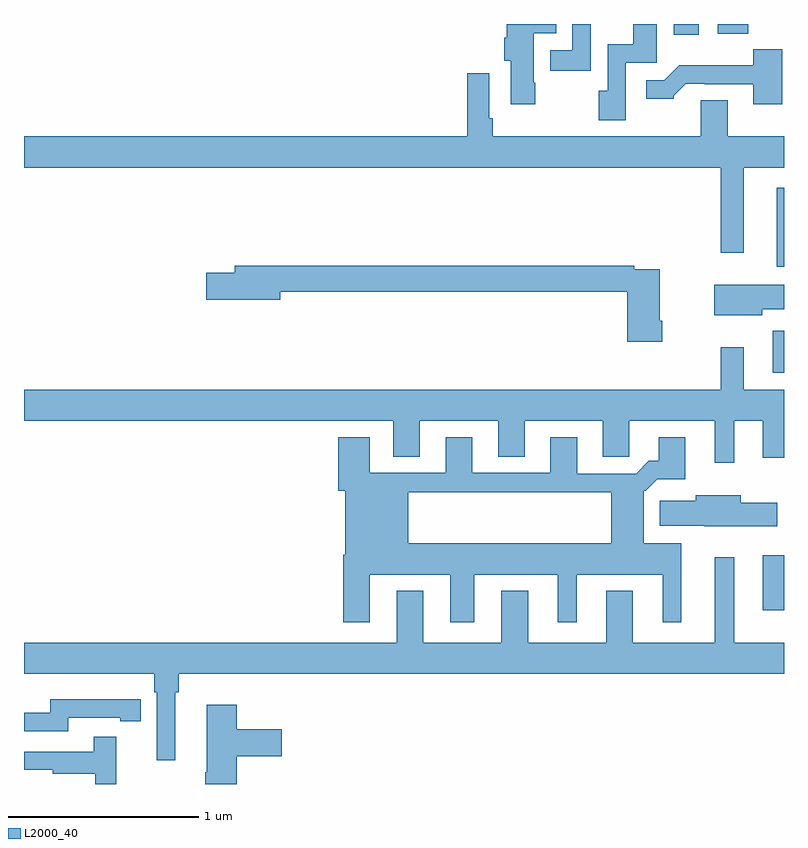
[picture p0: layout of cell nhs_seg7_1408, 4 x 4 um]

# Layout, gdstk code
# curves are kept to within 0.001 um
import gdstk
lib = gdstk.Library(unit=1e-6, precision=1e-09)
def R(c, l, rs):  # rectangles x0, y0, x1, y1
    for r in rs: c.add(gdstk.rectangle(r[:2], r[2:], *l))
def P(c, l, *ps):  # polygons
    for p in ps: c.add(gdstk.Polygon(p, *l))
L2000_40 = (2000, 40)

nhs_seg7_1408 = lib.new_cell('nhs_seg7_1408')
R(nhs_seg7_1408, L2000_40, [(210.887,1036.914,211,1037.203), (210.941,1038.165,211,1038.385), (210.962,1038.722,211,1039.138), (210.419,1039.944,210.55,1040), (210.65,1039.949,210.812,1040)])
P(nhs_seg7_1408, L2000_40, [(209.691,1039.69),(209.683,1039.69),(209.683,1039.952),(209.801,1039.952),(209.801,1040),(209.54,1040),(209.54,1039.928),(209.528,1039.928),(209.528,1039.806),(209.561,1039.806),(209.561,1039.578),(209.691,1039.578)],
  [(210.168,1039.797),(210.331,1039.797),(210.331,1040),(210.206,1040),(210.206,1039.894),(210.072,1039.894),(210.072,1039.65),(210.025,1039.65),(210.025,1039.494),(210.168,1039.494)],
  [(209.982,1040),(209.886,1040),(209.886,1039.863),(209.769,1039.863),(209.769,1039.755),(209.982,1039.755)],
  [(210.992,1039.867),(210.837,1039.867),(210.837,1039.783),(210.448,1039.783),(210.369,1039.704),(210.276,1039.704),(210.276,1039.607),(210.42,1039.607),(210.42,1039.622),(210.484,1039.686),(210.583,1039.686),(210.583,1039.683),(210.839,1039.683),(210.839,1039.578),(210.992,1039.578)],
  [(210.787,1039.244),(211,1039.244),(211,1039.408),(210.703,1039.408),(210.703,1039.598),(210.563,1039.598),(210.563,1039.408),(209.468,1039.408),(209.468,1039.504),(209.448,1039.504),(209.448,1039.741),(209.332,1039.741),(209.332,1039.408),(207,1039.408),(207,1039.244),(210.666,1039.244),(210.666,1038.795),(210.787,1038.795)],
  [(210.359,1038.439),(210.346,1038.439),(210.346,1038.708),(210.212,1038.708),(210.212,1038.728),(208.109,1038.728),(208.109,1038.692),(207.96,1038.692),(207.96,1038.55),(208.348,1038.55),(208.348,1038.592),(210.176,1038.592),(210.176,1038.327),(210.359,1038.327)],
  [(210.886,1038.499),(211,1038.499),(211,1038.628),(210.632,1038.628),(210.632,1038.467),(210.886,1038.467)],
  [(210.739,1037.912),(210.887,1037.912),(210.887,1037.718),(211,1037.718),(211,1038.076),(210.787,1038.076),(210.787,1038.298),(210.666,1038.298),(210.666,1038.076),(207,1038.076),(207,1037.912),(208.943,1037.912),(208.943,1037.722),(209.083,1037.722),(209.083,1037.912),(209.495,1037.912),(209.495,1037.722),(209.635,1037.722),(209.635,1037.912),(210.047,1037.912),(210.047,1037.722),(210.186,1037.722),(210.186,1037.912),(210.635,1037.912),(210.635,1037.691),(210.739,1037.691)],
  [(208.679,1037.206),(208.679,1036.851),(208.819,1036.851),(208.819,1037.102),(209.243,1037.102),(209.243,1036.851),(209.371,1036.851),(209.371,1037.102),(209.81,1037.102),(209.81,1036.851),(209.908,1036.851),(209.908,1037.102),(210.362,1037.102),(210.362,1036.851),(210.46,1036.851),(210.46,1037.266),(210.262,1037.266),(210.262,1037.544),(210.273,1037.544),(210.332,1037.603),(210.481,1037.603),(210.481,1037.824),(210.341,1037.824),(210.341,1037.701),(210.289,1037.701),(210.222,1037.634),(209.911,1037.634),(209.911,1037.824),(209.771,1037.824),(209.771,1037.637),(209.359,1037.637),(209.359,1037.824),(209.219,1037.824),(209.219,1037.637),(208.819,1037.637),(208.819,1037.824),(208.655,1037.824),(208.655,1037.544),(208.691,1037.544),(208.691,1037.266),(209.023,1037.266),(209.023,1037.536),(210.092,1037.536),(210.092,1037.266),(208.691,1037.266),(208.691,1037.206)],
  [(210.964,1037.479),(210.772,1037.479),(210.772,1037.521),(210.536,1037.521),(210.536,1037.49),(210.347,1037.49),(210.347,1037.36),(210.579,1037.36),(210.579,1037.357),(210.964,1037.357)],
  [(207.796,1036.484),(207.815,1036.484),(207.815,1036.58),(211,1036.58),(211,1036.744),(210.739,1036.744),(210.739,1037.194),(210.635,1037.194),(210.635,1036.744),(210.205,1036.744),(210.205,1037.017),(210.065,1037.017),(210.065,1036.744),(209.653,1036.744),(209.653,1037.017),(209.513,1037.017),(209.513,1036.744),(209.101,1036.744),(209.101,1037.017),(208.961,1037.017),(208.961,1036.744),(207,1036.744),(207,1036.58),(207.686,1036.58),(207.686,1036.484),(207.699,1036.484),(207.699,1036.125),(207.796,1036.125)],
  [(207.234,1036.35),(207.506,1036.35),(207.506,1036.33),(207.614,1036.33),(207.614,1036.446),(207.506,1036.446),(207.506,1036.447),(207.138,1036.447),(207.138,1036.374),(207,1036.374),(207,1036.278),(207.234,1036.278)],
  [(208.121,1036.145),(208.357,1036.145),(208.357,1036.287),(208.121,1036.287),(208.121,1036.417),(207.962,1036.417),(207.962,1036.061),(207.955,1036.061),(207.955,1036),(208.121,1036)],
  [(207.485,1036.249),(207.367,1036.249),(207.367,1036.17),(207,1036.17),(207,1036.074),(207.151,1036.074),(207.151,1036.054),(207.375,1036.054),(207.375,1036),(207.485,1036)])

lib.write_gds('nhs_seg7_1408.gds')
